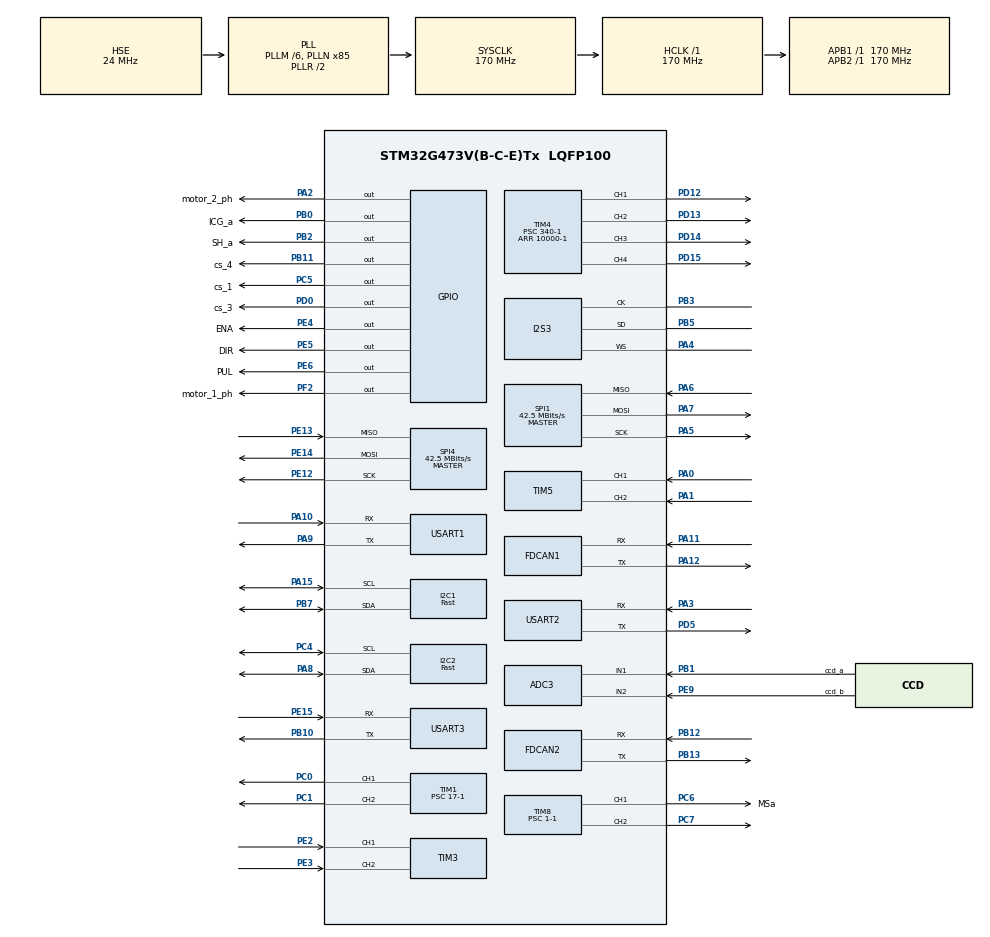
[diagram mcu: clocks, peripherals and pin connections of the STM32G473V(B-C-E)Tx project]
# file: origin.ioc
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ADC3.Channel-1\#ChannelRegularConversion=ADC_CHANNEL_1
ADC3.ExternalTrigConv=ADC_EXTERNALTRIG_T7_TRGO
ADC3.NbrOfConversionFlag=1
ADC3.OffsetNumber-1\#ChannelRegularConversion=ADC_OFFSET_NONE
ADC3.Rank-1\#ChannelRegularConversion=1
ADC3.SamplingTime-1\#ChannelRegularConversion=ADC_SAMPLETIME_2CYCLES_5
ADC3.master=1
Dma.ADC3.0.Direction=DMA_PERIPH_TO_MEMORY
Dma.ADC3.0.EventEnable=DISABLE
Dma.ADC3.0.Instance=DMA1_Channel1
Dma.ADC3.0.MemDataAlignment=DMA_MDATAALIGN_HALFWORD
Dma.ADC3.0.MemInc=DMA_MINC_ENABLE
Dma.ADC3.0.Mode=DMA_NORMAL
Dma.ADC3.0.PeriphDataAlignment=DMA_PDATAALIGN_HALFWORD
Dma.ADC3.0.PeriphInc=DMA_PINC_DISABLE
Dma.ADC3.0.Polarity=HAL_DMAMUX_REQ_GEN_RISING
Dma.ADC3.0.Priority=DMA_PRIORITY_LOW
Dma.ADC3.0.RequestNumber=1
Dma.ADC3.0.SignalID=NONE
Dma.ADC3.0.SyncEnable=DISABLE
Dma.ADC3.0.SyncPolarity=HAL_DMAMUX_SYNC_NO_EVENT
Dma.ADC3.0.SyncRequestNumber=1
Dma.ADC3.0.SyncSignalID=NONE
Dma.Request0=ADC3
FDCAN1.CalculateBaudRateNominal=3541666
FDCAN1.CalculateTimeBitNominal=282
FDCAN1.CalculateTimeQuantumNominal=94.11764705882354
FDCAN2.CalculateBaudRateNominal=3541666
FDCAN2.CalculateTimeBitNominal=282
FDCAN2.CalculateTimeQuantumNominal=94.11764705882354
I2C1.I2C_Speed_Mode=I2C_Fast
I2C1.Timing=0x40621236
I2C2.I2C_Speed_Mode=I2C_Fast
I2C2.Timing=0x40621236
I2S3.AudioFreq=I2S_AUDIOFREQ_16K
I2S3.ErrorAudioFreq=0.0 %
I2S3.FullDuplexMode=I2S_FULLDUPLEXMODE_DISABLE
I2S3.Instance=SPI$Index
I2S3.RealAudioFreq=16.001 KHz
I2S3.VirtualMode=I2S_MODE_MASTER
Mcu.Family=STM32G4
Mcu.Name=STM32G473V(B-C-E)Tx
Mcu.Package=LQFP100
NVIC.DMA1_Channel1_IRQn=true\:0\:0\:false\:false\:true\:false\:true\:true
NVIC.PriorityGroup=NVIC_PRIORITYGROUP_4
NVIC.TIM1_BRK_TIM15_IRQn=true\:0\:0\:false\:false\:true\:true\:true\:true
NVIC.TIM2_IRQn=true\:0\:0\:false\:false\:true\:true\:true\:true
NVIC.TIM6_DAC_IRQn=true\:0\:0\:false\:false\:true\:true\:true\:true
PA0.Signal=S_TIM5_CH1
PA1.Signal=S_TIM5_CH2
PA10.Mode=Asynchronous
PA10.Signal=USART1_RX
PA11.Mode=FDCAN_Activate
PA11.Signal=FDCAN1_RX
PA12.Mode=FDCAN_Activate
PA12.Signal=FDCAN1_TX
PA13.Mode=Serial_Wire
PA13.Signal=SYS_JTMS-SWDIO
PA14.Mode=Serial_Wire
PA14.Signal=SYS_JTCK-SWCLK
PA15.Mode=I2C
PA15.Signal=I2C1_SCL
PA2.GPIO_Label=motor_2_ph
PA2.Signal=GPIO_Output
PA3.Mode=Asynchronous
PA3.Signal=USART2_RX
PA4.Mode=Half_Duplex_Master
PA4.Signal=I2S3_WS
PA5.Mode=Full_Duplex_Master
PA5.Signal=SPI1_SCK
PA6.Mode=Full_Duplex_Master
PA6.Signal=SPI1_MISO
PA7.Mode=Full_Duplex_Master
PA7.Signal=SPI1_MOSI
PA8.Mode=I2C
PA8.Signal=I2C2_SDA
PA9.Mode=Asynchronous
PA9.Signal=USART1_TX
PB0.GPIO_Label=ICG_a
PB0.GPIO_Speed=GPIO_SPEED_FREQ_LOW
PB0.Signal=GPIO_Output
PB1.GPIO_Label=ccd_a
PB1.Mode=IN1-Single-Ended
PB1.Signal=ADC3_IN1
PB10.Mode=Asynchronous
PB10.Signal=USART3_TX
PB11.GPIO_Label=cs_4
PB11.Signal=GPIO_Output
PB12.Mode=FDCAN_Activate
PB12.Signal=FDCAN2_RX
PB13.Mode=FDCAN_Activate
PB13.Signal=FDCAN2_TX
PB2.GPIO_Label=SH_a
PB2.GPIO_Speed=GPIO_SPEED_FREQ_VERY_HIGH
PB2.Signal=GPIO_Output
PB3.Mode=Half_Duplex_Master
PB3.Signal=I2S3_CK
PB5.Mode=Half_Duplex_Master
PB5.Signal=I2S3_SD
PB7.Mode=I2C
PB7.Signal=I2C1_SDA
PC0.Signal=S_TIM1_CH1
PC1.Signal=S_TIM1_CH2
PC10.Signal=UART4_TX
PC11.Signal=UART4_RX
PC12.Signal=UART5_TX
PC4.Mode=I2C
PC4.Signal=I2C2_SCL
PC5.GPIO_Label=cs_1
PC5.Signal=GPIO_Output
PC6.GPIO_Label=MSa
PC6.GPIO_Speed=GPIO_SPEED_FREQ_VERY_HIGH
PC6.Signal=S_TIM8_CH1
PC7.Signal=S_TIM8_CH2
PC8.Signal=S_TIM8_CH3
PC9.Signal=S_TIM8_CH4
PD0.GPIO_Label=cs_3
PD0.Signal=GPIO_Output
PD10.Signal=ADC5_IN7
PD11.Signal=ADC5_IN8
PD12.Signal=S_TIM4_CH1
PD13.Signal=S_TIM4_CH2
PD14.Signal=S_TIM4_CH3
PD15.Signal=S_TIM4_CH4
PD2.Signal=UART5_RX
PD3.Signal=S_TIM2_CH1
PD4.Signal=S_TIM2_CH2
PD5.Mode=Asynchronous
PD5.Signal=USART2_TX
PD6.Signal=S_TIM2_CH4
PD7.Signal=S_TIM2_CH3
PD8.Signal=ADC5_IN12
PD9.Signal=ADC5_IN13
PE12.Mode=Full_Duplex_Master
PE12.Signal=SPI4_SCK
PE13.Mode=Full_Duplex_Master
PE13.Signal=SPI4_MISO
PE14.Mode=Full_Duplex_Master
PE14.Signal=SPI4_MOSI
PE15.Mode=Asynchronous
PE15.Signal=USART3_RX
PE2.Signal=S_TIM3_CH1
PE3.Signal=S_TIM3_CH2
PE4.GPIO_Label=ENA
PE4.Signal=GPIO_Output
PE5.GPIO_Label=DIR
PE5.Signal=GPIO_Output
PE6.GPIO_Label=PUL
PE6.Signal=GPIO_Output
PE9.GPIO_Label=ccd_b
PE9.Mode=IN2-Single-Ended
PE9.Signal=ADC3_IN2
PF0-OSC_IN.Mode=HSE-External-Oscillator
PF0-OSC_IN.Signal=RCC_OSC_IN
PF1-OSC_OUT.Mode=HSE-External-Oscillator
PF1-OSC_OUT.Signal=RCC_OSC_OUT
PF2.GPIO_Label=motor_1_ph
PF2.Signal=GPIO_Output
ProjectManager.HeapSize=0x200
ProjectManager.StackSize=0x400
ProjectManager.TargetToolchain=MDK-ARM V5.32
RCC.ADC12Freq_Value=170000000
RCC.ADC345Freq_Value=170000000
RCC.AHBFreq_Value=170000000
RCC.APB1Freq_Value=170000000
RCC.APB1TimFreq_Value=170000000
RCC.APB2Freq_Value=170000000
RCC.APB2TimFreq_Value=170000000
RCC.CortexFreq_Value=170000000
RCC.EXTERNAL_CLOCK_VALUE=12288000
RCC.HCLKFreq_Value=170000000
RCC.HSE_VALUE=24000000
RCC.HSI48_VALUE=48000000
RCC.HSI_VALUE=16000000
RCC.LSE_VALUE=32768
RCC.PLLM=RCC_PLLM_DIV6
RCC.PLLN=85
RCC.PLLSourceVirtual=RCC_PLLSOURCE_HSE
RCC.SYSCLKFreq_VALUE=170000000
RCC.SYSCLKSource=RCC_SYSCLKSOURCE_PLLCLK
RCC.USBFreq_Value=170000000
RCC.VCOOutputFreq_Value=340000000
SH.S_TIM1_CH1.0=TIM1_CH1,PWM Generation1 CH1
SH.S_TIM1_CH2.0=TIM1_CH2,PWM Generation2 CH2
SH.S_TIM2_CH1.0=TIM2_CH1
SH.S_TIM2_CH2.0=TIM2_CH2
SH.S_TIM2_CH3.0=TIM2_CH3
SH.S_TIM2_CH4.0=TIM2_CH4
SH.S_TIM3_CH1.0=TIM3_CH1,Encoder_Interface
SH.S_TIM3_CH2.0=TIM3_CH2,Encoder_Interface
SH.S_TIM4_CH1.0=TIM4_CH1,PWM Generation1 CH1
SH.S_TIM4_CH2.0=TIM4_CH2,PWM Generation2 CH2
SH.S_TIM4_CH3.0=TIM4_CH3,PWM Generation3 CH3
SH.S_TIM4_CH4.0=TIM4_CH4,PWM Generation4 CH4
SH.S_TIM5_CH1.0=TIM5_CH1,Encoder_Interface
SH.S_TIM5_CH2.0=TIM5_CH2,Encoder_Interface
SH.S_TIM8_CH1.0=TIM8_CH1,PWM Generation1 CH1
SH.S_TIM8_CH2.0=TIM8_CH2,PWM Generation2 CH2
SH.S_TIM8_CH3.0=TIM8_CH3
SH.S_TIM8_CH4.0=TIM8_CH4
SPI1.BaudRatePrescaler=SPI_BAUDRATEPRESCALER_4
SPI1.CalculateBaudRate=42.5 MBits/s
SPI1.Direction=SPI_DIRECTION_2LINES
SPI1.Mode=SPI_MODE_MASTER
SPI1.VirtualType=VM_MASTER
SPI4.BaudRatePrescaler=SPI_BAUDRATEPRESCALER_4
SPI4.CalculateBaudRate=42.5 MBits/s
SPI4.Direction=SPI_DIRECTION_2LINES
SPI4.Mode=SPI_MODE_MASTER
SPI4.VirtualType=VM_MASTER
TIM1.AutoReloadPreload=TIM_AUTORELOAD_PRELOAD_ENABLE
TIM1.Channel-PWM\ Generation1\ CH1=TIM_CHANNEL_1
TIM1.Channel-PWM\ Generation2\ CH2=TIM_CHANNEL_2
TIM1.PeriodNoDither=1000-1
TIM1.Prescaler=17-1
TIM15.PeriodNoDither=5000-1
TIM15.Prescaler=340-1
TIM2.AutoReloadPreload=TIM_AUTORELOAD_PRELOAD_ENABLE
TIM2.PeriodNoDither=5000-1
TIM2.Prescaler=170-1
TIM4.Channel-PWM\ Generation1\ CH1=TIM_CHANNEL_1
TIM4.Channel-PWM\ Generation2\ CH2=TIM_CHANNEL_2
TIM4.Channel-PWM\ Generation3\ CH3=TIM_CHANNEL_3
TIM4.Channel-PWM\ Generation4\ CH4=TIM_CHANNEL_4
TIM4.PeriodNoDither=10000-1
TIM4.Prescaler=340-1
TIM6.AutoReloadPreload=TIM_AUTORELOAD_PRELOAD_ENABLE
TIM6.PeriodNoDither=340-1
TIM6.Prescaler=3000-1
TIM7.PeriodNoDither=160-1
TIM7.Prescaler=2-1
TIM8.Channel-PWM\ Generation1\ CH1=TIM_CHANNEL_1
TIM8.Channel-PWM\ Generation2\ CH2=TIM_CHANNEL_2
TIM8.PeriodNoDither=160-1
TIM8.Prescaler=1-1
USART1.VirtualMode-Asynchronous=VM_ASYNC
USART2.VirtualMode-Asynchronous=VM_ASYNC
USART3.VirtualMode-Asynchronous=VM_ASYNC
VP_SYS_VS_DBSignals.Mode=DisableDeadBatterySignals
VP_TIM15_VS_ClockSourceINT.Mode=Internal
VP_TIM1_VS_ClockSourceINT.Mode=Internal
VP_TIM2_VS_ClockSourceINT.Mode=Internal
VP_TIM4_VS_ClockSourceINT.Mode=Internal
VP_TIM6_VS_ClockSourceINT.Mode=Enable_Timer
VP_TIM7_VS_ClockSourceINT.Mode=Enable_Timer
VP_TIM8_VS_ClockSourceINT.Mode=Internal
board=custom

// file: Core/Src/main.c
/* USER CODE BEGIN Header */
/**
  ******************************************************************************
  * @file           : main.c
  * @brief          : Main program body
  ******************************************************************************
  * @attention
  *
  * Copyright (c) 2025 STMicroelectronics.
  * All rights reserved.
  *
  * This software is licensed under terms that can be found in the LICENSE file
  * in the root directory of this software component.
  * If no LICENSE file comes with this software, it is provided AS-IS.
  *
  ******************************************************************************
  */
/* USER CODE END Header */
#include "main.h"
#include "adc.h"
#include "dma.h"
#include "fdcan.h"
#include "i2c.h"
#include "i2s.h"
#include "spi.h"
#include "tim.h"
#include "usart.h"
#include "gpio.h"

void SystemClock_Config(void);
/* USER CODE BEGIN PFP */
void delay_us(uint32_t us)
{
    uint32_t delay = (HAL_RCC_GetHCLKFreq() / 4000000 * us);
    while (delay--)
    {
        __NOP(); //防止编译器优化
    }
}

void HAL_TIM_PeriodElapsedCallback(TIM_HandleTypeDef *htim)
{
    if (htim->Instance == htim6.Instance)
    {
        if ((HAL_GetTick() - icg_flag) >= 10)
        {
            HAL_GPIO_WritePin(ICG_a_GPIO_Port, ICG_a_Pin, 1);
            HAL_GPIO_WritePin(SH_a_GPIO_Port, SH_a_Pin, 0);
            delay_us(2);
            HAL_GPIO_WritePin(SH_a_GPIO_Port, SH_a_Pin, 1);
            delay_us(4);
            HAL_GPIO_WritePin(ICG_a_GPIO_Port, ICG_a_Pin, 0);
            HAL_ADC_Start_DMA(&hadc3, (uint32_t *)ccd_rawdata, 1546);
            icg_flag = HAL_GetTick();
        }
        else
        {
            HAL_GPIO_WritePin(SH_a_GPIO_Port, SH_a_Pin, 0);
            delay_us(2);
            HAL_GPIO_WritePin(SH_a_GPIO_Port, SH_a_Pin, 1);
            delay_us(4);
        }
    }
    else if (htim->Instance ==htim15.Instance)
    {

        char t[128];
        sprintf(t, " l_w=%d, r_w=%d\r\n", l_w, r_w);
         HAL_UART_Transmit(&huart1, t, strlen(t), 1000);

    }

}
/* USER CODE END PFP */

int main(void)
{

  /* MCU Configuration--------------------------------------------------------*/

  /* Reset of all peripherals, Initializes the Flash interface and the Systick. */
  HAL_Init();

  /* Configure the system clock */
  SystemClock_Config();

  /* Initialize all configured peripherals */
  MX_GPIO_Init();
  MX_DMA_Init();
  MX_TIM1_Init();
  MX_USART1_UART_Init();
  MX_USART3_UART_Init();
  MX_TIM2_Init();
  MX_TIM3_Init();
  MX_TIM5_Init();
  MX_SPI1_Init();
  MX_TIM8_Init();
  MX_TIM4_Init();
  MX_USART2_UART_Init();
  MX_ADC3_Init();
  MX_FDCAN1_Init();
  MX_FDCAN2_Init();
  MX_I2C1_Init();
  MX_I2C2_Init();
  MX_I2S3_Init();
  MX_SPI4_Init();
  MX_TIM6_Init();
  MX_TIM7_Init();
  MX_TIM15_Init();
  /* USER CODE BEGIN 2 */
    //tim1是给两个普通直流电机的，tim3是编码器1，tim5是编码器2，tim2只用于普通定时（利用中断）,tim15是为了调频率用的
    //tim6是给ccd定时中断用，tim8是ccd的m脚,tim7是为了让sh方便取样所用定时器,tim4是用于输出pwm  配置：340-1，10000-1
//  中断开启
    HAL_TIM_Base_Start_IT(&htim2);
    HAL_TIM_Base_Start_IT(&htim6);
    HAL_TIM_Base_Start_IT(&htim15);
//
    HAL_TIM_PWM_Start(&htim1,TIM_CHANNEL_1);
    HAL_TIM_PWM_Start(&htim1,TIM_CHANNEL_2);
    HAL_TIM_Encoder_Start(&htim3,TIM_CHANNEL_ALL);
    HAL_TIM_Encoder_Start(&htim5,TIM_CHANNEL_ALL);
//舵机
    HAL_TIM_PWM_Start(&htim8,TIM_CHANNEL_4);
    HAL_TIM_PWM_Start(&htim8,TIM_CHANNEL_3);
    HAL_TIM_PWM_Start(&htim8,TIM_CHANNEL_2);
    HAL_TIM_PWM_Start(&htim8,TIM_CHANNEL_1);
    HAL_TIM_PWM_Start(&htim4,TIM_CHANNEL_4);
    HAL_TIM_PWM_Start(&htim4,TIM_CHANNEL_3);
    HAL_TIM_PWM_Start(&htim4,TIM_CHANNEL_2);
    HAL_TIM_PWM_Start(&htim4,TIM_CHANNEL_1);
//灰度配置
//  set_adjust_mode(1);
//  HAL_Delay(500);
//
//  set_adjust_mode(0);
//  HAL_Delay(500);

    //tcs230配置
    HAL_UART_Receive_IT(&huart3, &RxData, 1);

    printf("AT+LIGHT+ON\r\n");
    printf("AT+LIGHT+ON\r\n");
    printf("AT+LIGHT+ON\r\n");
    printf("AT+LIGHT+ON\r\n");
    printf("AT+LIGHT+ON\r\n");
    printf("AT+LIGHT+ON\r\n");
    //普通电机配置
    speed_left = 0;
    speed_right = 0;
    speed_all = 0;

    PID_struct_init(&pid_left, POSITION_PID, 950, 950, 50, 0, 0);
    PID_struct_init(&pid_right, POSITION_PID, 950, 950, 50, 0, 0);
    //tsl1401配置

    ////灰度循迹配置
    // set_adjust_mode(1);
    // HAL_Delay(500);

    // set_adjust_mode(0);
    // HAL_Delay(500);

  /* USER CODE END 2 */

  /* Infinite loop */
    while (1)
    {

    /* USER CODE BEGIN 3 */
        int32_t sum = 0;
        _max = 0, _min = 65535;
        for (int i = 0; i < 128; i++)
        {
            int32_t data = 0;
            for (int j = 0; j < 8; j++)
                data += (ccd_rawdata[272 + i * 8 + j] - 380);
            ccd_data[i] = (data / 8);
            sum += ccd_data[i];
            _max = max(_max, ccd_data[i]);
            _min = min(_min, ccd_data[i]);
        }
        avg = sum / 128;
//        OLED_ShowChart(ccd_data, 1, 1700, (_max * 7 + _min) / 8);
        FindLines(&l, &r, ccd_data, 500, &l_w, &r_w);
    }
  /* USER CODE END 3 */
}

void SystemClock_Config(void)
{
  RCC_OscInitTypeDef RCC_OscInitStruct = {0};
  RCC_ClkInitTypeDef RCC_ClkInitStruct = {0};

  /** Configure the main internal regulator output voltage
  */
  HAL_PWREx_ControlVoltageScaling(PWR_REGULATOR_VOLTAGE_SCALE1_BOOST);

  /** Initializes the RCC Oscillators according to the specified parameters
  * in the RCC_OscInitTypeDef structure.
  */
  RCC_OscInitStruct.OscillatorType = RCC_OSCILLATORTYPE_HSE;
  RCC_OscInitStruct.HSEState = RCC_HSE_ON;
  RCC_OscInitStruct.PLL.PLLState = RCC_PLL_ON;
  RCC_OscInitStruct.PLL.PLLSource = RCC_PLLSOURCE_HSE;
  RCC_OscInitStruct.PLL.PLLM = RCC_PLLM_DIV6;
  RCC_OscInitStruct.PLL.PLLN = 85;
  RCC_OscInitStruct.PLL.PLLP = RCC_PLLP_DIV2;
  RCC_OscInitStruct.PLL.PLLQ = RCC_PLLQ_DIV2;
  RCC_OscInitStruct.PLL.PLLR = RCC_PLLR_DIV2;
  if (HAL_RCC_OscConfig(&RCC_OscInitStruct) != HAL_OK)
  {
    Error_Handler();
  }

  /** Initializes the CPU, AHB and APB buses clocks
  */
  RCC_ClkInitStruct.ClockType = RCC_CLOCKTYPE_HCLK|RCC_CLOCKTYPE_SYSCLK
                              |RCC_CLOCKTYPE_PCLK1|RCC_CLOCKTYPE_PCLK2;
  RCC_ClkInitStruct.SYSCLKSource = RCC_SYSCLKSOURCE_PLLCLK;
  RCC_ClkInitStruct.AHBCLKDivider = RCC_SYSCLK_DIV1;
  RCC_ClkInitStruct.APB1CLKDivider = RCC_HCLK_DIV1;
  RCC_ClkInitStruct.APB2CLKDivider = RCC_HCLK_DIV1;

  if (HAL_RCC_ClockConfig(&RCC_ClkInitStruct, FLASH_LATENCY_4) != HAL_OK)
  {
    Error_Handler();
  }
}

void Error_Handler(void)
{
    __disable_irq();
    while (1)
    {
    }
}
